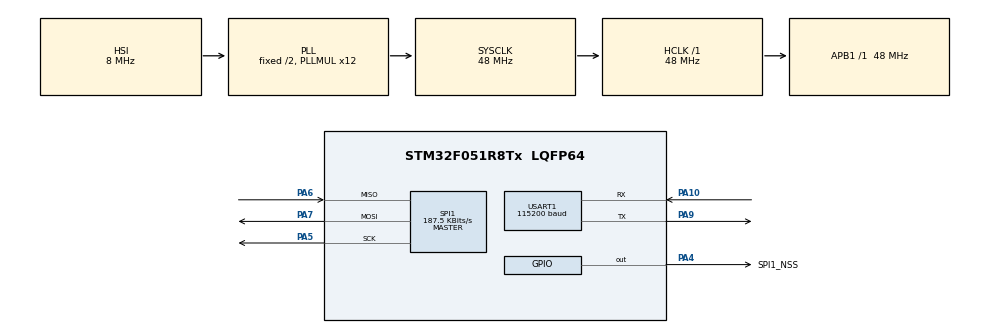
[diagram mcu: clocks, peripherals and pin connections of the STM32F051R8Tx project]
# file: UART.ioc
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Mcu.Family=STM32F0
Mcu.Name=STM32F051R8Tx
Mcu.Package=LQFP64
PA10.Mode=Asynchronous
PA10.Signal=USART1_RX
PA4.GPIO_Label=SPI1_NSS
PA4.Signal=GPIO_Output
PA5.Mode=Full_Duplex_Master
PA5.Signal=SPI1_SCK
PA6.Mode=Full_Duplex_Master
PA6.Signal=SPI1_MISO
PA7.Mode=Full_Duplex_Master
PA7.Signal=SPI1_MOSI
PA9.Mode=Asynchronous
PA9.Signal=USART1_TX
ProjectManager.HeapSize=0x200
ProjectManager.StackSize=0x400
ProjectManager.TargetToolchain=STM32CubeIDE
RCC.AHBFreq_Value=48000000
RCC.APB1Freq_Value=48000000
RCC.APB1TimFreq_Value=48000000
RCC.HCLKFreq_Value=48000000
RCC.PLLMUL=RCC_PLL_MUL12
RCC.SYSCLKFreq_VALUE=48000000
RCC.SYSCLKSource=RCC_SYSCLKSOURCE_PLLCLK
SPI1.BaudRatePrescaler=SPI_BAUDRATEPRESCALER_256
SPI1.CalculateBaudRate=187.5 KBits/s
SPI1.DataSize=SPI_DATASIZE_8BIT
SPI1.Direction=SPI_DIRECTION_2LINES
SPI1.Mode=SPI_MODE_MASTER
SPI1.VirtualType=VM_MASTER
USART1.BaudRate=115200
USART1.VirtualMode-Asynchronous=VM_ASYNC
board=STM32F0DISCOVERY

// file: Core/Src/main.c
/* USER CODE BEGIN Header */
/**
 ******************************************************************************
 * @file : main.c
 * @brief : Main program body
 ******************************************************************************
 * @attention
 *
 * <h2><center>&copy; Copyright (c) 2021 STMicroelectronics.
 * All rights reserved.</center></h2>
 *
 * This software component is licensed by ST under BSD 3-Clause license,
 * the "License"; You may not use this file except in compliance with the
 * License. You may obtain a copy of the License at:
 * opensource.org/licenses/BSD-3-Clause
 *
 ******************************************************************************
 */
/* USER CODE END Header */
#include "main.h"

/* USER CODE BEGIN Includes */
#include "string.h"
#include "stdio.h"
/* USER CODE END Includes */

/* USER CODE BEGIN PD */
#define PROTOCOL_CMD_CS0	"CS0\n"
#define PROTOCOL_CMD_CS1	"CS1\n"
#define PROTOCOL_CMD_M0	"M0\n"
#define PROTOCOL_CMD_M1	"M1\n"
#define PROTOCOL_CMD_M2	"M2\n"
#define PROTOCOL_CMD_M3	"M3\n"
#define PROTOCOL_CMD_CD	"CD "

/* USER CODE END PD */

SPI_HandleTypeDef hspi1;

UART_HandleTypeDef huart1;

void SystemClock_Config(void);
static void MX_GPIO_Init(void);
static void MX_USART1_UART_Init(void);
static void MX_SPI1_Init(void);

/* USER CODE BEGIN 0 */
static int rx(unsigned char *r) {
	int result = 0;
	if (HAL_UART_Receive(&huart1, r, 1, 500) == HAL_OK) {
		result = 1;
	}
	return result;
}

enum state_list {
	ST_RESET = 0,
	ST_D1,
	ST_D2,
	STN,
	ST_C,
	ST_M,
	ST_CS,
	ST_CSn0,
	ST_CSn1,
	ST_M0,
	ST_M1,
	ST_M2,
	ST_M3,
	ST_Dn,
};
enum state_list main_state;

static char halfhex2char(char c) {
	char s;
	if (c >= '0' && c <= '9')
		s = c - '0';
	else {
		if (c >= 'A' && c <= 'F')
			s = c - 'A' + 10;
	}
	return s;
}

static char hex2char(char c1, char c2) {
	return (halfhex2char(c1) << 4) + halfhex2char(c2);
}

static char bytetohex(char c) {
	char s;
	if (c >= 0x00 && c <= 0x09)
		s = c + 0x30;
	else {
		if (c >= 0x0A && c <= 0x0F)
			s = c + 0x37;
	}
	return s;
}

static void chtohex(char c, unsigned char *str) {
	str[0] = bytetohex(c >> 4);
	str[1] = bytetohex(c * 0x0F);
}

static void SPI1_Init_Clk(uint32_t CLKPolarity, uint32_t CLKPhase) {

	/* USER CODE BEGIN SPI1_Init 0 */

	/* USER CODE END SPI1_Init 0 */

	/* USER CODE BEGIN SPI1_Init 1 */

	/* USER CODE END SPI1_Init 1 */
	/* SPI1 parameter configuration*/
	hspi1.Instance = SPI1;
	hspi1.Init.Mode = SPI_MODE_MASTER;
	hspi1.Init.Direction = SPI_DIRECTION_2LINES;
	hspi1.Init.DataSize = SPI_DATASIZE_8BIT;
	hspi1.Init.CLKPolarity = CLKPolarity;
	hspi1.Init.CLKPhase = CLKPhase;
	hspi1.Init.NSS = SPI_NSS_SOFT;
	hspi1.Init.BaudRatePrescaler = SPI_BAUDRATEPRESCALER_256;
	hspi1.Init.FirstBit = SPI_FIRSTBIT_MSB;
	hspi1.Init.TIMode = SPI_TIMODE_DISABLE;
	hspi1.Init.CRCCalculation = SPI_CRCCALCULATION_DISABLE;
	hspi1.Init.CRCPolynomial = 7;
	hspi1.Init.CRCLength = SPI_CRC_LENGTH_DATASIZE;
	hspi1.Init.NSSPMode = SPI_NSS_PULSE_ENABLE;
	if (HAL_SPI_Init(&hspi1) != HAL_OK) {
		Error_Handler();
	}
	/* USER CODE BEGIN SPI1_Init 2 */

	/* USER CODE END SPI1_Init 2 */

}
/* USER CODE END 0 */

int main(void) {
	/* USER CODE BEGIN 1 */
	main_state = ST_RESET;
	/* USER CODE END 1 */

	/* MCU Configuration--------------------------------------------------------*/

	/* Reset of all peripherals, Initializes the Flash interface and the Systick. */
	HAL_Init();

	/* USER CODE BEGIN Init */
	unsigned char ress;
	char sy1;
	char sy2;
	unsigned char c;
	unsigned char symbols[2];
	unsigned char buf[64];
	unsigned char rxbuf[64];
	int k = 0;

	/* USER CODE END Init */

	/* Configure the system clock */
	SystemClock_Config();

	/* Initialize all configured peripherals */
	MX_GPIO_Init();
	MX_USART1_UART_Init();
	MX_SPI1_Init();

	/* Infinite loop */
	/* USER CODE BEGIN WHILE */
	while (1) {
		if (rx(&c)) {
			switch (main_state) {
			case ST_RESET:
				switch (c) {
				case 'D':
					main_state = ST_D1;
					break;
				case 'C':
					main_state = ST_C;
					break;
				case 'M':
					main_state = ST_M;
					break;
				default:
					main_state = ST_RESET;
				}
				break;

			case ST_C:
				switch (c) {
				case 'S':
					main_state = ST_CS;
					break;
				default:
					main_state = ST_RESET;
				}

			case ST_CS:
				switch (c) {
				case '0':
					main_state = ST_CSn0;
					break;
				case '1':
					main_state = ST_CSn1;
					break;
				default:
					main_state = ST_RESET;
				}
				break;

			case ST_CSn0:
				switch (c) {
				case '\n':
					HAL_GPIO_WritePin(SPI1_NSS_GPIO_Port, SPI1_NSS_Pin,
							GPIO_PIN_RESET);
					main_state = ST_RESET;
					break;
				default:
					main_state = ST_RESET;
				}
				break;

			case ST_CSn1:
				switch (c) {
				case '\n':
					HAL_GPIO_WritePin(SPI1_NSS_GPIO_Port, SPI1_NSS_Pin,
							GPIO_PIN_SET);
					main_state = ST_RESET;
					break;
				default:
					main_state = ST_RESET;
				}
				break;

			case ST_M:
				switch (c) {
				case '0':
					main_state = ST_M0;
					break;
				case '1':
					main_state = ST_M1;
					break;
				case '2':
					main_state = ST_M2;
					break;
				case '3':
					main_state = ST_M3;
					break;
				default:
					main_state = ST_RESET;
				}
				break;

			case ST_M0:
				switch (c) {
				case '\n':
					SPI1_Init_Clk(SPI_POLARITY_LOW, SPI_PHASE_1EDGE);
					main_state = ST_RESET;
					break;
				default:
					main_state = ST_RESET;
				}
				break;

			case ST_M1:
				switch (c) {
				case '\n':
					SPI1_Init_Clk(SPI_POLARITY_LOW, SPI_PHASE_2EDGE);
					main_state = ST_RESET;
					break;
				default:
					main_state = ST_RESET;
				}
				break;

			case ST_M2:
				switch (c) {
				case '\n':
					SPI1_Init_Clk(SPI_POLARITY_HIGH, SPI_PHASE_1EDGE);
					main_state = ST_RESET;
					break;
				default:
					main_state = ST_RESET;
				}
				break;

			case ST_M3:
				switch (c) {
				case '\n':
					SPI1_Init_Clk(SPI_POLARITY_HIGH, SPI_PHASE_2EDGE);
					main_state = ST_RESET;
					break;
				default:
					main_state = ST_RESET;
				}
				break;

			case ST_D1:
				switch (c) {
				case '\n':
					HAL_SPI_TransmitReceive(&hspi1, &buf[0], &rxbuf[0], k, 500);
					for (int i = 0; i < k; i++) {
						chtohex(rxbuf[i], symbols);
						HAL_UART_Transmit(&huart1, &symbols[0], 2, 500);
					}
					main_state = ST_RESET;
					break;
				default:
					sy1 = c;
					main_state = ST_D2;
					break;
				}
				break;

			case ST_D2:
				sy2 = c;
				ress = hex2char(sy1, sy2);
				buf[k] = ress;
				k++;
				main_state = ST_D1;
				break;
			default:
				main_state = ST_RESET;

			}
		}
	}
	/* USER CODE END WHILE */

}

void SystemClock_Config(void) {
	RCC_OscInitTypeDef RCC_OscInitStruct = { 0 };
	RCC_ClkInitTypeDef RCC_ClkInitStruct = { 0 };
	RCC_PeriphCLKInitTypeDef PeriphClkInit = { 0 };

	/** Initializes the RCC Oscillators according to the specified parameters
	 * in the RCC_OscInitTypeDef structure.
	 */
	RCC_OscInitStruct.OscillatorType = RCC_OSCILLATORTYPE_HSI;
	RCC_OscInitStruct.HSIState = RCC_HSI_ON;
	RCC_OscInitStruct.HSICalibrationValue = RCC_HSICALIBRATION_DEFAULT;
	RCC_OscInitStruct.PLL.PLLState = RCC_PLL_ON;
	RCC_OscInitStruct.PLL.PLLSource = RCC_PLLSOURCE_HSI;
	RCC_OscInitStruct.PLL.PLLMUL = RCC_PLL_MUL12;
	RCC_OscInitStruct.PLL.PREDIV = RCC_PREDIV_DIV1;
	if (HAL_RCC_OscConfig(&RCC_OscInitStruct) != HAL_OK) {
		Error_Handler();
	}
	/** Initializes the CPU, AHB and APB buses clocks
	 */
	RCC_ClkInitStruct.ClockType = RCC_CLOCKTYPE_HCLK | RCC_CLOCKTYPE_SYSCLK
			| RCC_CLOCKTYPE_PCLK1;
	RCC_ClkInitStruct.SYSCLKSource = RCC_SYSCLKSOURCE_PLLCLK;
	RCC_ClkInitStruct.AHBCLKDivider = RCC_SYSCLK_DIV1;
	RCC_ClkInitStruct.APB1CLKDivider = RCC_HCLK_DIV1;

	if (HAL_RCC_ClockConfig(&RCC_ClkInitStruct, FLASH_LATENCY_1) != HAL_OK) {
		Error_Handler();
	}
	PeriphClkInit.PeriphClockSelection = RCC_PERIPHCLK_USART1;
	PeriphClkInit.Usart1ClockSelection = RCC_USART1CLKSOURCE_PCLK1;
	if (HAL_RCCEx_PeriphCLKConfig(&PeriphClkInit) != HAL_OK) {
		Error_Handler();
	}
}

static void MX_SPI1_Init(void) {

	/* SPI1 parameter configuration*/
	hspi1.Instance = SPI1;
	hspi1.Init.Mode = SPI_MODE_MASTER;
	hspi1.Init.Direction = SPI_DIRECTION_2LINES;
	hspi1.Init.DataSize = SPI_DATASIZE_8BIT;
	hspi1.Init.CLKPolarity = SPI_POLARITY_LOW;
	hspi1.Init.CLKPhase = SPI_PHASE_1EDGE;
	hspi1.Init.NSS = SPI_NSS_SOFT;
	hspi1.Init.BaudRatePrescaler = SPI_BAUDRATEPRESCALER_256;
	hspi1.Init.FirstBit = SPI_FIRSTBIT_MSB;
	hspi1.Init.TIMode = SPI_TIMODE_DISABLE;
	hspi1.Init.CRCCalculation = SPI_CRCCALCULATION_DISABLE;
	hspi1.Init.CRCPolynomial = 7;
	hspi1.Init.CRCLength = SPI_CRC_LENGTH_DATASIZE;
	hspi1.Init.NSSPMode = SPI_NSS_PULSE_ENABLE;
	if (HAL_SPI_Init(&hspi1) != HAL_OK) {
		Error_Handler();
	}

}

static void MX_USART1_UART_Init(void) {

	huart1.Instance = USART1;
	huart1.Init.BaudRate = 115200;
	huart1.Init.WordLength = UART_WORDLENGTH_8B;
	huart1.Init.StopBits = UART_STOPBITS_1;
	huart1.Init.Parity = UART_PARITY_NONE;
	huart1.Init.Mode = UART_MODE_TX_RX;
	huart1.Init.HwFlowCtl = UART_HWCONTROL_NONE;
	huart1.Init.OverSampling = UART_OVERSAMPLING_16;
	huart1.Init.OneBitSampling = UART_ONE_BIT_SAMPLE_DISABLE;
	huart1.AdvancedInit.AdvFeatureInit = UART_ADVFEATURE_NO_INIT;
	if (HAL_UART_Init(&huart1) != HAL_OK) {
		Error_Handler();
	}

}

static void MX_GPIO_Init(void) {
	GPIO_InitTypeDef GPIO_InitStruct = { 0 };

	/* GPIO Ports Clock Enable */
	__HAL_RCC_GPIOA_CLK_ENABLE();

	/*Configure GPIO pin Output Level */
	HAL_GPIO_WritePin(SPI1_NSS_GPIO_Port, SPI1_NSS_Pin, GPIO_PIN_RESET);

	/*Configure GPIO pin : SPI1_NSS_Pin */
	GPIO_InitStruct.Pin = SPI1_NSS_Pin;
	GPIO_InitStruct.Mode = GPIO_MODE_OUTPUT_PP;
	GPIO_InitStruct.Pull = GPIO_NOPULL;
	GPIO_InitStruct.Speed = GPIO_SPEED_FREQ_LOW;
	HAL_GPIO_Init(SPI1_NSS_GPIO_Port, &GPIO_InitStruct);

}

void Error_Handler(void) {
	__disable_irq();
	while (1) {
	}
}

/************************ (C) COPYRIGHT STMicroelectronics *****END OF FILE****/
